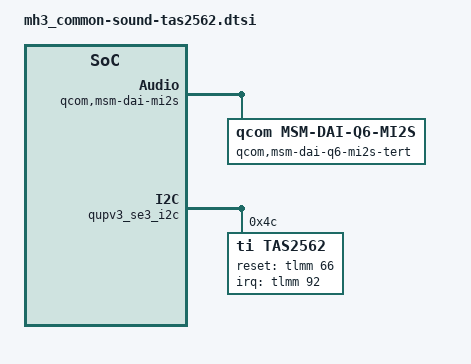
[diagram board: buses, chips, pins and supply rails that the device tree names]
/*
 * Copyright (c) 2018, The Linux Foundation. All rights reserved.
 *
 * This program is free software; you can redistribute it and/or modify
 * it under the terms of the GNU General Public License version 2 and
 * only version 2 as published by the Free Software Foundation.
 *
 * This program is distributed in the hope that it will be useful,
 * but WITHOUT ANY WARRANTY; without even the implied warranty of
 * MERCHANTABILITY or FITNESS FOR A PARTICULAR PURPOSE.  See the
 * GNU General Public License for more details.
 */


&soc {
	qcom,msm-dai-mi2s {
		compatible = "qcom,msm-dai-mi2s";

		qcom,msm-dai-q6-mi2s-tert {
                       compatible = "qcom,msm-dai-q6-mi2s";
                       qcom,msm-dai-q6-mi2s-dev-id = <2>;
                       qcom,msm-mi2s-rx-lines = <2>; /* SD1 used as output */
                       qcom,msm-mi2s-tx-lines = <1>; /* SD0 used as input */
		};
	};

};

&tlmm {
	ter_mi2s {
		ter_mi2s_sleep: ter_mi2s_sleep {
			mux {
				pins = "gpio115", "gpio116";
				function = "gpio";
			};

			config {
				pins = "gpio115", "gpio116";
				drive-strength = <2>;   /* 2 mA */
				bias-disable;         /* NO PULL */
				input-enable;
			};
		};

		ter_mi2s_active: ter_mi2s_active {
			mux {
				pins = "gpio115", "gpio116";
				function = "ter_mi2s";
			};

			config {
				pins = "gpio115", "gpio116";
				drive-strength = <8>;   /* 8 mA */
				bias-disable;           /* NO PULL */
			};
		};
	};

	ter_mi2s_sd0 {
		ter_mi2s_sd0_sleep: ter_mi2s_sd0_sleep {
			mux {
				pins = "gpio117";
				function = "gpio";
			};

			config {
				pins = "gpio117";
				drive-strength = <2>;   /* 2 mA */
				bias-pull-down;         /* PULL DOWN */
				input-enable;
			};
		};

		ter_mi2s_sd0_active: ter_mi2s_sd0_active {
			mux {
				pins = "gpio117";
				function = "ter_mi2s";
			};

			config {
				pins = "gpio117";
				drive-strength = <8>;   /* 8 mA */
				bias-disable;           /* NO PULL */
			};
		};
	};
	
	ter_mi2s_sd1 {
		ter_mi2s_sd1_sleep: ter_mi2s_sd1_sleep {
			mux {
				pins = "gpio118";
				function = "gpio";
			};

			config {
				pins = "gpio118";
				drive-strength = <2>;   /* 2 mA */
				bias-pull-down;         /* PULL DOWN */
				input-enable;
			};
		};

		ter_mi2s_sd1_active: ter_mi2s_sd1_active {
			mux {
				pins = "gpio118";
				function = "ter_mi2s";
			};

			config {
				pins = "gpio118";
				drive-strength = <8>;   /* 8 mA */
				bias-disable;           /* NO PULL */
			};
		};
	};
};

/*For TAS2562*/
&qupv3_se3_i2c { /* QUPV3 SE3  */
        tas2562@4c{
            compatible = "ti,tas2562";
			reg = <0x4c>;
			ti,reset-gpio = <&tlmm 66 0>;
			ti,irq-gpio = <&tlmm 92 0>;
			ti,asi-format = <0>; /* 0, i2S; 1, DSP;  */
			ti,left-slot = <0>; /* <left slot number> */
			ti,right-slot = <1>; /* <right slot number> */
			ti,imon-slot-no = <0>; /* <current sense slot number> */
			ti,vmon-slot-no = <2>; /* <current voltage slot number> */
			status = "ok";
        };
};
